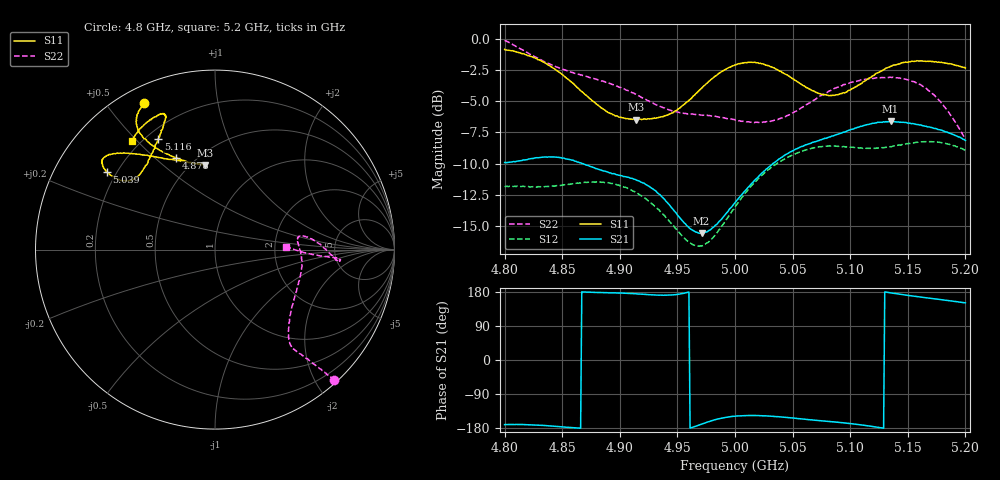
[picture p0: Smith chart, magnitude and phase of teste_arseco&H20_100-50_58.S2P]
! Network Analyzer HP8722D
! Hewlett-Packard
! Data name: Linha & Wilkinson
! Saver's name: Rodrigo Anjos
! Comments: Teste da utilização de aquisição
! continua pelo VNA HP8722D
! Time and date: 6/5/2025 13:03
!  Frequency  S11  S21  S12  S22
# HZ  S  MA R 50
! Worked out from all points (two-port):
!   401 points, 4.8 GHz to 5.2 GHz, reference 50 ohm
!   highest |S21| = -6.61 dB at 5.135 GHz (marker M1); lowest = -15.6 dB at 4.971 GHz (marker M2)
!   |S21| within 3 dB of the highest: 4.821 GHz to 4.853 GHz (31.97 MHz wide, 0.661 % of centre); 5.038 GHz to end of sweep
!   lowest |S11| = -6.5 dB at 4.914 GHz (marker M3), VSWR 2.80, Z = 29.1 + j35.4 ohm
!   |S11| at or under -10 dB: nowhere
!   |S22| runs from -8.0 to -0.1 dB; largest |S21 - S12| = 0.83
!   S11 on the Smith chart (normalised r, x): 4.8 GHz: 0.07, +0.63; 4.878 GHz: 0.40, +0.59; 5.039 GHz: 0.16, +0.31; 5.116 GHz: 0.25, +0.58; 5.2 GHz: 0.17, +0.48
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4.8e9  0.9052 115.8  0.3197 -170.5  0.257 -86.0  0.983 -47.5
4.834e9  0.805 122.5  0.3361 -172.7  0.2558 -76.9  0.8104 -49.6
4.849e9  0.7253 122.1  0.3343 -176.3  0.259 -71.8  0.758 -50.5
4.867e9  0.6144 117.9  0.3171 179.8  0.2655 -67.3  0.7152 -51.5
4.878e9  0.5565 113.0  0.3046 178.4  0.2668 -65.9  0.6916 -51.8
4.898e9  0.4902 102.3  0.2855 176.9  0.2599 -66.4  0.6442 -50.3
4.914e9  0.4741 96.5  0.2724 174.8  0.2421 -68.0  0.5992 -46.7
4.934e9  0.4844 99.2  0.2391 171.0  0.2069 -69.3  0.5374 -37.4
4.959e9  0.5605 116.4  0.1777 178.6  0.155 -58.7  0.5 -20.9
4.971e9  0.6334 124.8  0.1666 -169.4  0.1484 -45.1  0.4946 -13.9
5e9  0.7847 137.3  0.2207 -148.4  0.2129 -21.5  0.4735 -0.2
5.018e9  0.8011 141.6  0.2742 -146.5  0.269 -18.2  0.4633 5.9
5.039e9  0.7398 144.3  0.3316 -149.9  0.3218 -18.2  0.479 8.9
5.067e9  0.6199 142.0  0.3847 -158.0  0.365 -20.5  0.5617 4.8
5.088e9  0.5964 133.0  0.4132 -164.0  0.3715 -23.7  0.6364 -1.7
5.116e9  0.6939 117.1  0.454 -174.2  0.3644 -26.8  0.6899 -5.4
5.134e9  0.7697 111.2  0.4653 177.7  0.369 -28.7  0.7002 -4.8
5.135e9  0.7747 111.0  0.4669 177.4  0.3702 -28.7  0.7015 -4.6
5.147e9  0.8025 110.4  0.4625 171.8  0.3779 -31.1  0.6894 -4.1
5.164e9  0.8122 113.2  0.4479 165.0  0.3874 -35.9  0.6413 -3.8
5.181e9  0.8004 119.4  0.4274 158.4  0.3827 -41.3  0.5406 -2.8
5.2e9  0.7631 127.3  0.3917 150.8  0.3583 -46.2  0.3961 2.5
